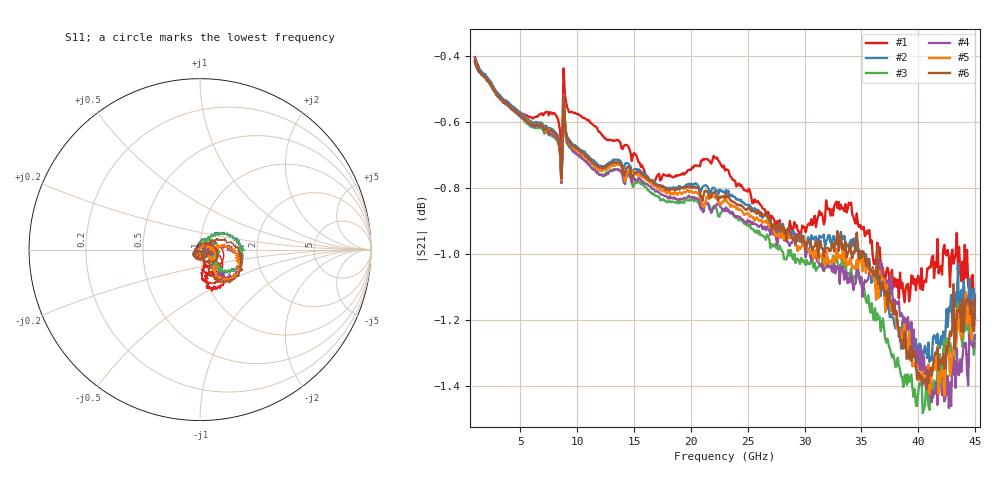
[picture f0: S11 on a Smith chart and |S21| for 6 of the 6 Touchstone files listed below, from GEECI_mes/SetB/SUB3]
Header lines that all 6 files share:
!Keysight Technologies,N5247B,MY61255062,A.19.80.06
!Correction: S11(Cdelta 2-Port  )
!S21(Cdelta 2-Port  )
!S12(Cdelta 2-Port  )
!S22(Cdelta 2-Port  )
!S2P File: Measurements: S11, S21, S12, S22:
# Hz S  dB  R 50
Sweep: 1 GHz to 45 GHz
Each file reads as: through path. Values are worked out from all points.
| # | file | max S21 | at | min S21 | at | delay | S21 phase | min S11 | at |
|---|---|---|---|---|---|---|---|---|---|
| 1 | Thru_ref_nos2.s2p | -0.40 dB | 1 GHz | -1.2 dB | 44.9 GHz | 49.1 ps | -47 deg at 23 GHz | -27.7 dB | 11.4 GHz |
| 2 | TN1_60.5um.s2p | -0.41 dB | 1 GHz | -1.3 dB | 39.9 GHz | 56.3 ps | -107 deg at 23 GHz | -46.0 dB | 23.3 GHz |
| 3 | TN2_100.5um.s2p | -0.42 dB | 1 GHz | -1.5 dB | 40.4 GHz | 56.4 ps | -108 deg at 23 GHz | -43.4 dB | 8.8 GHz |
| 4 | TN3_196.5.s2p | -0.41 dB | 1 GHz | -1.5 dB | 42.7 GHz | 55.8 ps | -102 deg at 23 GHz | -43.5 dB | 15.3 GHz |
| 5 | TN5_100.5.s2p | -0.42 dB | 1 GHz | -1.4 dB | 42.3 GHz | 55.9 ps | -104 deg at 23 GHz | -48.3 dB | 25.9 GHz |
| 6 | TN6_196.5.s2p | -0.41 dB | 1 GHz | -1.4 dB | 40.7 GHz | 56.1 ps | -105 deg at 23 GHz | -42.7 dB | 17.8 GHz |
